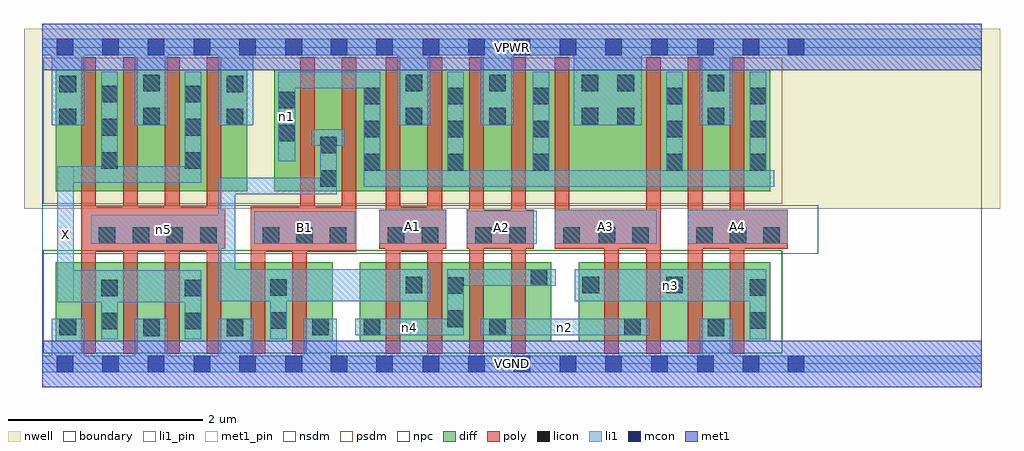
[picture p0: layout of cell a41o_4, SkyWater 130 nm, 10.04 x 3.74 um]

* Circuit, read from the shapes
.subckt a41o_4 A1 A2 A3 A4 B1 VGND VPWR X n1 n2 n3 n4 n5
XM1 X n5 VGND VSUBS sky130_fd_pr__nfet_01v8 w=0.81 l=0.15 m=4
XM2 n5 B1 VGND VSUBS sky130_fd_pr__nfet_01v8 w=0.81 l=0.15 m=2
XM3 n5 A1 n4 VSUBS sky130_fd_pr__nfet_01v8 w=0.81 l=0.15 m=2
XM4 n2 A2 n4 VSUBS sky130_fd_pr__nfet_01v8 w=0.81 l=0.15 m=2
XM5 n2 A3 n3 VSUBS sky130_fd_pr__nfet_01v8 w=0.81 l=0.15 m=2
XM6 VGND A4 n3 VSUBS sky130_fd_pr__nfet_01v8 w=0.81 l=0.15 m=2
XM7 X n5 VPWR n6 sky130_fd_pr__pfet_01v8 w=1.25 l=0.15 m=4
XM8 n5 B1 n1 n6 sky130_fd_pr__pfet_01v8 w=1.25 l=0.15 m=2
XM9 VPWR A1 n1 n6 sky130_fd_pr__pfet_01v8 w=1.25 l=0.15 m=2
XM10 VPWR A2 n1 n6 sky130_fd_pr__pfet_01v8 w=1.25 l=0.15 m=2
XM11 VPWR A3 n1 n6 sky130_fd_pr__pfet_01v8 w=1.25 l=0.15 m=2
XM12 VPWR A4 n1 n6 sky130_fd_pr__pfet_01v8 w=1.25 l=0.15 m=2
.ends

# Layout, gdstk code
import gdstk
lib = gdstk.Library(unit=1e-6, precision=1e-09)
def R(c, l, rs):  # rectangles x0, y0, x1, y1
    for r in rs: c.add(gdstk.rectangle(r[:2], r[2:], *l))
def A(c, l, x, y, w, h, nx, ny, dx, dy):  # array of equal rectangles
    R(c, l, [(x+i*dx, y+j*dy, x+i*dx+w, y+j*dy+h) for i in range(nx) for j in range(ny)])
nwell = (64, 20)
diff = (65, 20)
poly = (66, 20)
licon = (66, 44)
li1_pin = (67, 16)
li1 = (67, 20)
mcon = (67, 44)
met1_pin = (68, 16)
met1 = (68, 20)
nsdm = (93, 44)
psdm = (94, 20)
npc = (95, 20)
boundary = (235, 4)

a41o_4 = lib.new_cell('a41o_4')
R(a41o_4, nwell, [(-0.19,1.595,9.85,3.45), (0,1.595,9.66,3.45)])
R(a41o_4, diff, [(0.135,0.235,2.985,1.045), (3.265,0.235,5.235,1.045), (5.515,0.235,7.485,1.045), (0.135,1.775,2.105,3.025), (2.385,1.775,7.485,3.025)])
A(a41o_4, poly, 0.4, 0.105, 0.15, 3.05, 4, 1, 0.43, 0)
A(a41o_4, poly, 3.53, 0.105, 0.15, 3.05, 4, 1, 0.43, 0)
A(a41o_4, poly, 6.21, 0.105, 0.15, 3.05, 3, 1, 0.43, 0)
R(a41o_4, poly, [(2.14,0.105,2.29,1.615), (2.57,0.105,2.72,1.615), (5.78,0.105,5.93,1.585), (0.4,1.155,1.84,1.615), (2.14,1.155,3.23,1.615), (2.65,1.155,2.8,3.155), (3.08,1.155,3.23,3.155), (3.53,1.155,4.11,1.615), (0.4,1.185,1.88,1.585), (3.465,1.185,4.155,1.585), (4.365,1.185,5.055,1.585), (5.27,1.185,6.36,1.585), (5.27,1.185,5.42,3.155), (6.64,1.185,7.665,1.585)])
A(a41o_4, licon, 2.265, 1.235, 0.17, 0.17, 3, 1, 0.345, 0)
A(a41o_4, licon, 6.725, 1.235, 0.17, 0.17, 3, 1, 0.345, 0)
A(a41o_4, licon, 3.305, 1.99, 0.17, 0.17, 1, 3, 0, 0.34)
A(a41o_4, licon, 4.165, 1.99, 0.17, 0.17, 1, 3, 0, 0.34)
A(a41o_4, licon, 5.045, 1.99, 0.17, 0.17, 1, 3, 0, 0.34)
A(a41o_4, licon, 6.415, 1.99, 0.17, 0.17, 1, 3, 0, 0.34)
A(a41o_4, licon, 7.275, 1.99, 0.17, 0.17, 1, 3, 0, 0.34)
A(a41o_4, licon, 0.605, 2.01, 0.17, 0.17, 1, 3, 0, 0.34)
A(a41o_4, licon, 1.465, 2.01, 0.17, 0.17, 1, 3, 0, 0.34)
R(a41o_4, licon, [(1.035,0.285,1.205,0.455), (1.895,0.285,2.065,0.455), (6.845,0.285,7.015,0.455), (0.175,0.295,0.345,0.465), (2.775,0.295,2.945,0.465), (3.305,0.295,3.475,0.465), (4.595,0.295,4.765,0.465), (5.985,0.295,6.155,0.465), (0.605,0.355,0.775,0.525), (1.465,0.355,1.635,0.525), (2.345,0.36,2.515,0.53), (7.275,0.36,7.445,0.53), (4.165,0.38,4.335,0.55), (0.605,0.695,0.775,0.865), (1.465,0.695,1.635,0.865), (2.345,0.7,2.515,0.87), (7.275,0.7,7.445,0.87), (4.165,0.72,4.335,0.89), (3.735,0.725,3.905,0.895), (5.555,0.725,5.725,0.895), (6.415,0.725,6.585,0.895), (5.025,0.805,5.195,0.975), (0.58,1.235,0.75,1.405), (0.93,1.235,1.1,1.405), (1.275,1.235,1.445,1.405), (1.625,1.235,1.795,1.405), (3.55,1.235,3.72,1.405), (3.9,1.235,4.07,1.405), (4.45,1.235,4.62,1.405), (4.8,1.235,4.97,1.405), (5.355,1.235,5.525,1.405), (5.72,1.235,5.89,1.405), (6.065,1.235,6.235,1.405), (2.855,1.825,3.025,1.995), (2.855,2.165,3.025,2.335), (2.425,2.29,2.595,2.46), (0.175,2.455,0.345,2.625), (1.895,2.455,2.065,2.625), (1.035,2.465,1.205,2.635), (3.735,2.465,3.905,2.635), (4.595,2.465,4.765,2.635), (5.545,2.465,5.715,2.635), (5.915,2.465,6.085,2.635), (6.845,2.465,7.015,2.635), (2.425,2.63,2.595,2.8), (0.175,2.795,0.345,2.965), (1.895,2.795,2.065,2.965), (1.035,2.805,1.205,2.975), (3.735,2.805,3.905,2.975), (4.595,2.805,4.765,2.975), (5.545,2.805,5.715,2.975), (5.915,2.805,6.085,2.975), (6.845,2.805,7.015,2.975)])
R(a41o_4, li1_pin, [(0.15,0.635,0.32,2.035), (2.18,1.235,3.21,1.57), (3.465,1.235,4.155,1.585), (4.365,1.235,5.085,1.575), (5.27,1.235,6.32,1.585), (6.64,1.235,7.665,1.585)])
R(a41o_4, li1, [(0,-0.085,9.66,0.085), (0.095,-0.085,0.43,0.465), (0.95,-0.085,1.29,0.465), (1.81,-0.085,2.17,0.465), (2.69,-0.085,3.025,0.465), (6.76,-0.085,7.1,0.465), (0.605,0.255,0.775,0.965), (1.465,0.255,1.635,0.965), (2.345,0.255,2.515,0.975), (7.275,0.255,7.445,0.975), (3.22,0.295,4.335,0.465), (4.165,0.295,4.335,0.975), (4.51,0.295,6.24,0.465), (0.15,0.635,1.635,0.965), (0.15,0.635,0.32,2.035), (1.81,0.645,3.99,0.975), (1.81,0.645,1.985,1.915), (5.475,0.645,7.445,0.975), (4.165,0.805,5.28,0.975), (0.495,1.235,1.985,1.535), (2.18,1.235,3.21,1.57), (3.465,1.235,4.155,1.585), (4.365,1.235,5.085,1.575), (5.27,1.235,6.32,1.585), (6.64,1.235,7.665,1.585), (1.81,1.745,3.025,1.915), (2.855,1.745,3.025,2.415), (3.305,1.825,7.53,1.995), (3.305,1.825,3.475,3.005), (4.165,1.825,4.335,3.005), (5.045,1.825,5.215,3.005), (6.415,1.825,6.585,3.005), (7.275,1.825,7.445,3.005), (0.15,1.865,1.635,2.035), (0.605,1.865,0.775,3.005), (1.465,1.865,1.635,3.005), (2.425,2.085,2.6,3.005), (2.77,2.245,3.11,2.415), (0.095,2.455,0.43,3.345), (0.95,2.455,1.29,3.345), (1.81,2.455,2.17,3.345), (3.65,2.455,3.99,3.345), (4.51,2.455,4.85,3.345), (5.465,2.455,6.165,3.345), (6.76,2.455,7.1,3.345), (2.425,2.835,3.475,3.005), (0,3.175,9.66,3.345)])
A(a41o_4, mcon, 0.145, -0.085, 0.17, 0.17, 5, 2, 0.47, 3.26)
A(a41o_4, mcon, 3.91, -0.085, 0.17, 0.17, 6, 2, 0.47, 3.26)
R(a41o_4, mcon, [(2.5,-0.085,2.67,0.085), (2.965,-0.085,3.135,0.085), (3.435,-0.085,3.605,0.085), (6.735,-0.085,6.905,0.085), (7.205,-0.085,7.375,0.085), (7.665,-0.085,7.835,0.085), (2.5,3.175,2.67,3.345), (2.965,3.175,3.135,3.345), (3.435,3.175,3.605,3.345), (6.735,3.175,6.905,3.345), (7.205,3.175,7.375,3.345), (7.665,3.175,7.835,3.345)])
R(a41o_4, met1_pin, [(0,-0.24,9.66,0.24), (0,3.02,9.66,3.5)])
R(a41o_4, met1, [(0,-0.24,9.66,0.24), (0,3.02,9.66,3.5)])
R(a41o_4, nsdm, [(0.01,0.11,7.61,1.17)])
R(a41o_4, psdm, [(0.01,1.65,7.61,3.15)])
R(a41o_4, npc, [(0,1.135,7.98,1.635)])
R(a41o_4, boundary, [(0,0,9.66,3.26)])
a41o_4.add(gdstk.Label('A1', (3.81,1.41), layer=67, texttype=5))
a41o_4.add(gdstk.Label('A2', (4.725,1.405), layer=67, texttype=5))
a41o_4.add(gdstk.Label('A3', (5.795,1.41), layer=67, texttype=5))
a41o_4.add(gdstk.Label('A4', (7.152,1.41), layer=67, texttype=5))
a41o_4.add(gdstk.Label('B1', (2.695,1.402), layer=67, texttype=5))
a41o_4.add(gdstk.Label('X', (0.235,1.335), layer=67, texttype=5))
a41o_4.add(gdstk.Label('n2', (5.375,0.38), layer=67, texttype=5))
a41o_4.add(gdstk.Label('n4', (3.777,0.38), layer=67, texttype=5))
a41o_4.add(gdstk.Label('n3', (6.46,0.81), layer=67, texttype=5))
a41o_4.add(gdstk.Label('n5', (1.24,1.385), layer=67, texttype=5))
a41o_4.add(gdstk.Label('n1', (2.512,2.545), layer=67, texttype=5))
a41o_4.add(gdstk.Label('VPWR', (4.83,3.26), layer=68, texttype=5))
a41o_4.add(gdstk.Label('VGND', (4.83,0), layer=68, texttype=5))
a41o_4.add(gdstk.Label('A1', (3.81,1.41), layer=67, texttype=16))
a41o_4.add(gdstk.Label('A2', (4.725,1.405), layer=67, texttype=16))
a41o_4.add(gdstk.Label('A3', (5.795,1.41), layer=67, texttype=16))
a41o_4.add(gdstk.Label('A4', (7.152,1.41), layer=67, texttype=16))
a41o_4.add(gdstk.Label('B1', (2.695,1.402), layer=67, texttype=16))
a41o_4.add(gdstk.Label('X', (0.235,1.335), layer=67, texttype=16))
a41o_4.add(gdstk.Label('VPWR', (4.83,3.26), layer=68, texttype=16))
a41o_4.add(gdstk.Label('VGND', (4.83,0), layer=68, texttype=16))

lib.write_gds('a41o_4.gds')
